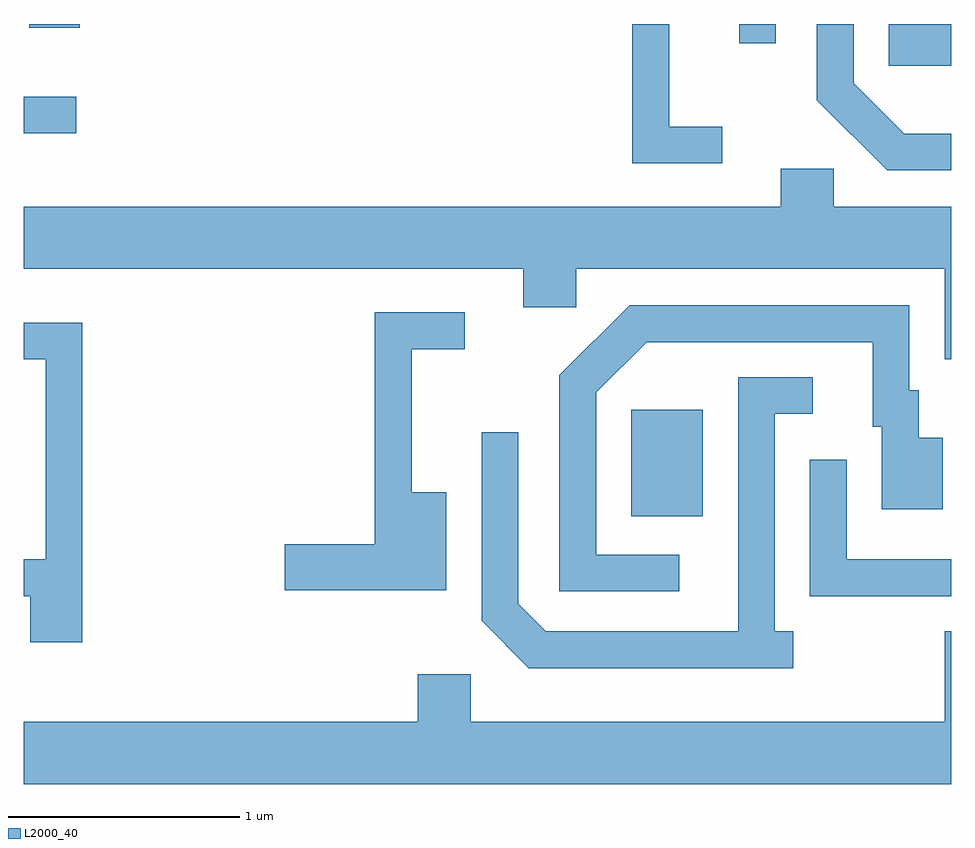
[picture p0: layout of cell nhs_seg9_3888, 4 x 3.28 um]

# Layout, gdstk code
import gdstk
lib = gdstk.Library(unit=1e-6, precision=1e-09)
def R(c, l, rs):  # rectangles x0, y0, x1, y1
    for r in rs: c.add(gdstk.rectangle(r[:2], r[2:], *l))
def P(c, l, *ps):  # polygons
    for p in ps: c.add(gdstk.Polygon(p, *l))
L2000_40 = (2000, 40)

nhs_seg9_3888 = lib.new_cell('nhs_seg9_3888')
R(nhs_seg9_3888, L2000_40, [(302.231,1986.311,302.539,1986.769), (299.611,1987.961,299.838,1988.119), (303.341,1988.251,303.611,1988.432), (302.696,1988.348,302.854,1988.432), (299.636,1988.416,299.854,1988.432)])
P(nhs_seg9_3888, L2000_40, [(303.611,1987.959),(303.407,1987.959),(303.189,1988.177),(303.189,1988.432),(303.031,1988.432),(303.031,1988.104),(303.334,1987.801),(303.611,1987.801)],
  [(302.623,1987.989),(302.394,1987.989),(302.394,1988.432),(302.236,1988.432),(302.236,1987.831),(302.623,1987.831)],
  [(303.611,1987.644),(303.104,1987.644),(303.104,1987.809),(302.876,1987.809),(302.876,1987.644),(299.611,1987.644),(299.611,1987.376),(301.766,1987.376),(301.766,1987.211),(301.994,1987.211),(301.994,1987.376),(303.581,1987.376),(303.581,1986.986),(303.611,1986.986)],
  [(302.438,1986.144),(302.079,1986.144),(302.079,1986.844),(302.297,1987.061),(303.271,1987.061),(303.271,1986.696),(303.311,1986.696),(303.311,1986.341),(303.574,1986.341),(303.574,1986.649),(303.469,1986.649),(303.469,1986.854),(303.429,1986.854),(303.429,1987.219),(302.224,1987.219),(301.921,1986.917),(301.921,1985.986),(302.438,1985.986)],
  [(301.434,1986.414),(301.284,1986.414),(301.284,1987.031),(301.513,1987.031),(301.513,1987.189),(301.126,1987.189),(301.126,1986.189),(300.736,1986.189),(300.736,1985.991),(301.434,1985.991)],
  [(299.864,1987.144),(299.611,1987.144),(299.611,1986.986),(299.706,1986.986),(299.706,1986.124),(299.611,1986.124),(299.611,1985.966),(299.641,1985.966),(299.641,1985.766),(299.864,1985.766)],
  [(302.928,1985.814),(302.849,1985.814),(302.849,1986.751),(303.013,1986.751),(303.013,1986.909),(302.691,1986.909),(302.691,1985.814),(301.862,1985.814),(301.744,1985.932),(301.744,1986.673),(301.586,1986.673),(301.586,1985.859),(301.789,1985.656),(302.928,1985.656)],
  [(303.611,1986.124),(303.159,1986.124),(303.159,1986.553),(303.001,1986.553),(303.001,1985.966),(303.611,1985.966)],
  [(303.611,1985.814),(303.581,1985.814),(303.581,1985.424),(301.539,1985.424),(301.539,1985.629),(301.311,1985.629),(301.311,1985.424),(299.611,1985.424),(299.611,1985.156),(303.611,1985.156)])

lib.write_gds('nhs_seg9_3888.gds')
